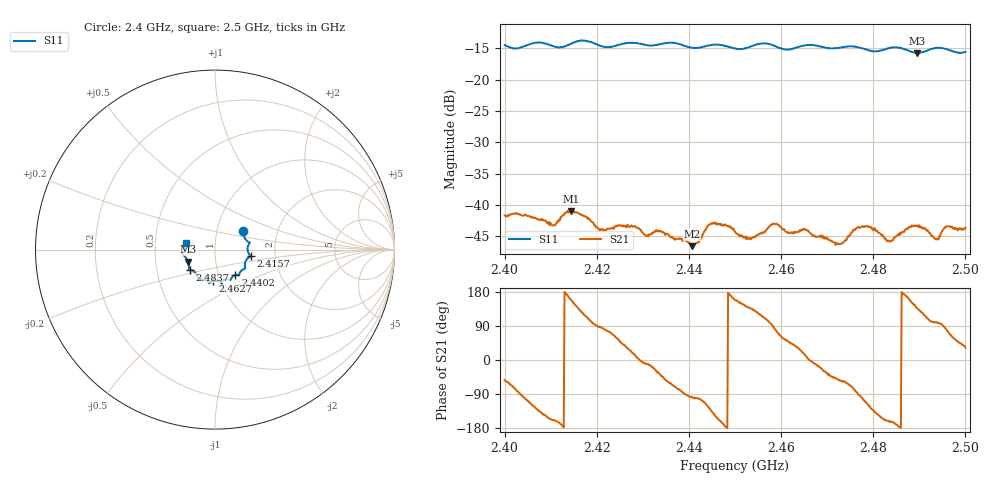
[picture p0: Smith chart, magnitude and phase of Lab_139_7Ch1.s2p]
# Hz S RI R 50
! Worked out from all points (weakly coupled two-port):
!   601 points, 2.4 GHz to 2.5 GHz, reference 50 ohm
!   highest |S21| = -40.98 dB at 2.4143 GHz (marker M1); lowest = -46.6 dB at 2.4407 GHz (marker M2)
!   lowest |S11| = -15.7 dB at 2.4895 GHz (marker M3), VSWR 1.39, Z = 36.7 - j5.13 ohm
!   |S11| at or under -10 dB: start of sweep to end of sweep
!   S12 and S22 are empty: the file has one direction only
!   S11 on the Smith chart (normalised r, x): 2.4 GHz: 1.33, +0.29; 2.4157 GHz: 1.49, -0.11; 2.4402 GHz: 1.20, -0.35; 2.4627 GHz: 0.92, -0.34; 2.4837 GHz: 0.74, -0.17; 2.5 GHz: 0.72, +0.05
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2.4e9  0.1565 0.1057  0.00495 -0.00657  0 0  0 0
2.410667e9  0.1835 0.0182  -0.00638 -0.00249  0 0  0 0
2.414333e9  0.1912 -0.0271  -0.00839 0.00306  0 0  0 0
2.415667e9  0.1989 -0.0364  -0.00681 0.00545  0 0  0 0
2.416667e9  0.2017 -0.0398  -0.00495 0.00663  0 0  0 0
2.421e9  0.1774 -0.0535  0.000561 0.00628  0 0  0 0
2.433333e9  0.1358 -0.1338  0.00514 -0.00346  0 0  0 0
2.440167e9  0.1142 -0.1409  -0.00055 -0.00493  0 0  0 0
2.440667e9  0.1099 -0.1424  -0.000671 -0.00462  0 0  0 0
2.445167e9  0.0855 -0.1698  -0.00531 -0.00468  0 0  0 0
2.45e9  0.0636 -0.1658  -0.00569 0.00222  0 0  0 0
2.453167e9  0.0392 -0.1784  -0.00398 0.00373  0 0  0 0
2.458667e9  0.0317 -0.1829  0.00103 0.00691  0 0  0 0
2.462667e9  -0.0113 -0.1768  0.00452 0.00381  0 0  0 0
2.466667e9  -0.0329 -0.1864  0.00581 -0.000403  0 0  0 0
2.472833e9  -0.0759 -0.1637  0.00279 -0.00397  0 0  0 0
2.478833e9  -0.1037 -0.1374  -0.00311 -0.00603  0 0  0 0
2.483333e9  -0.1386 -0.1123  -0.00486 -0.00162  0 0  0 0
2.483667e9  -0.1405 -0.112  -0.00481 -0.0016  0 0  0 0
2.4895e9  -0.1488 -0.068  -0.00498 0.00468  0 0  0 0
2.493667e9  -0.1776 -0.0269  -0.000902 0.0052  0 0  0 0
2.5e9  -0.1628 0.0364  0.00556 0.00354  0 0  0 0
